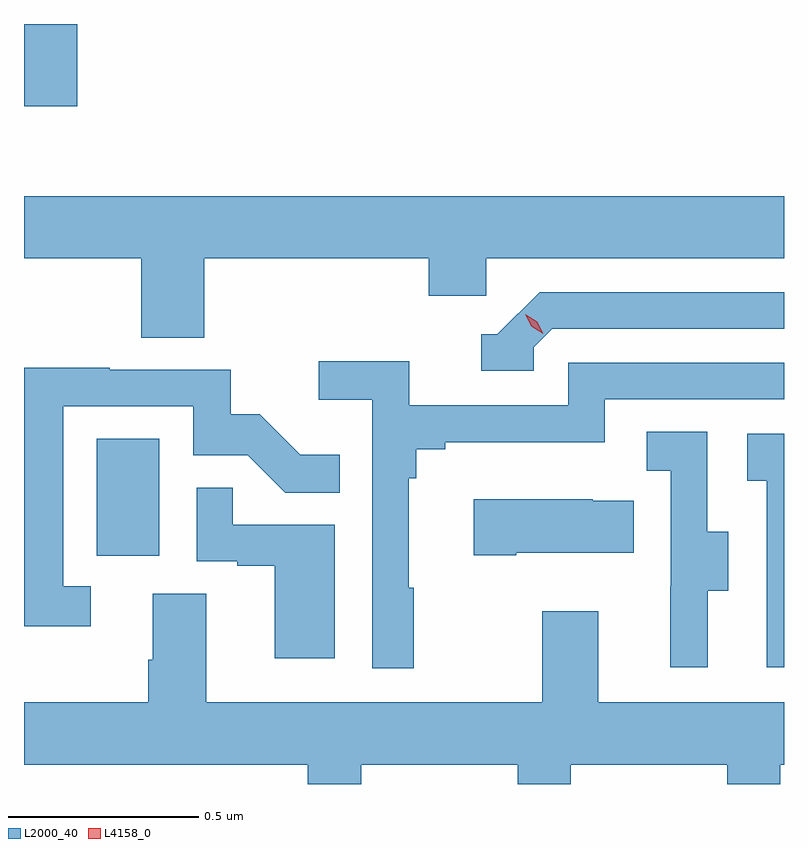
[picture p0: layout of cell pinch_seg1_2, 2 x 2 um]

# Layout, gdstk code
import gdstk
lib = gdstk.Library(unit=1e-6, precision=1e-09)
def R(c, l, rs):  # rectangles x0, y0, x1, y1
    for r in rs: c.add(gdstk.rectangle(r[:2], r[2:], *l))
def P(c, l, *ps):  # polygons
    for p in ps: c.add(gdstk.Polygon(p, *l))
L2000_40 = (2000, 40)
L4158_0 = (4158, 0)

pinch_seg1_2 = lib.new_cell('pinch_seg1_2')
R(pinch_seg1_2, L2000_40, [(1090.394,572.262,1090.558,572.569), (1090.202,573.444,1090.342,573.661)])
P(pinch_seg1_2, L2000_40, [(1090.676,573.044),(1091.267,573.044),(1091.267,572.946),(1091.418,572.946),(1091.418,573.044),(1092.202,573.044),(1092.202,573.208),(1090.202,573.208),(1090.202,573.044),(1090.511,573.044),(1090.511,572.836),(1090.676,572.836)],
  [(1091.544,572.811),(1091.592,572.859),(1092.202,572.859),(1092.202,572.955),(1091.559,572.955),(1091.448,572.844),(1091.405,572.844),(1091.405,572.748),(1091.544,572.748)],
  [(1091.227,572.177),(1091.215,572.177),(1091.215,572.465),(1091.234,572.465),(1091.234,572.542),(1091.311,572.542),(1091.311,572.561),(1091.73,572.561),(1091.73,572.673),(1092.202,572.673),(1092.202,572.769),(1091.634,572.769),(1091.634,572.658),(1091.216,572.658),(1091.216,572.774),(1090.977,572.774),(1090.977,572.672),(1091.118,572.672),(1091.118,571.965),(1091.227,571.965)],
  [(1090.378,572.181),(1090.305,572.181),(1090.305,572.655),(1090.647,572.655),(1090.647,572.526),(1090.791,572.526),(1090.889,572.428),(1091.033,572.428),(1091.033,572.527),(1090.929,572.527),(1090.822,572.634),(1090.746,572.634),(1090.746,572.751),(1090.427,572.751),(1090.427,572.756),(1090.202,572.756),(1090.202,572.076),(1090.378,572.076)],
  [(1092.001,572.17),(1092.055,572.17),(1092.055,572.325),(1092,572.325),(1092,572.588),(1091.841,572.588),(1091.841,572.485),(1091.904,572.485),(1091.904,572.181),(1091.903,572.181),(1091.903,571.968),(1092.001,571.968)],
  [(1092.202,572.583),(1092.105,572.583),(1092.105,572.459),(1092.156,572.459),(1092.156,571.968),(1092.202,571.968)],
  [(1091.02,572.343),(1090.751,572.343),(1090.751,572.441),(1090.656,572.441),(1090.656,572.247),(1090.763,572.247),(1090.763,572.235),(1090.862,572.235),(1090.862,571.992),(1091.02,571.992)],
  [(1091.497,572.27),(1091.807,572.27),(1091.807,572.407),(1091.699,572.407),(1091.699,572.41),(1091.385,572.41),(1091.385,572.263),(1091.497,572.263)],
  [(1091.089,571.712),(1091.501,571.712),(1091.501,571.661),(1091.641,571.661),(1091.641,571.712),(1092.053,571.712),(1092.053,571.661),(1092.192,571.661),(1092.192,571.712),(1092.202,571.712),(1092.202,571.876),(1091.713,571.876),(1091.713,572.116),(1091.566,572.116),(1091.566,571.876),(1090.681,571.876),(1090.681,572.162),(1090.541,572.162),(1090.541,571.988),(1090.529,571.988),(1090.529,571.876),(1090.202,571.876),(1090.202,571.712),(1090.949,571.712),(1090.949,571.661),(1091.089,571.661)])
P(pinch_seg1_2, L4158_0, [(1091.568,572.846),(1091.537,572.865),(1091.521,572.897),(1091.521,572.897),(1091.521,572.897),(1091.552,572.878),(1091.569,572.846),(1091.569,572.846)])

lib.write_gds('pinch_seg1_2.gds')
